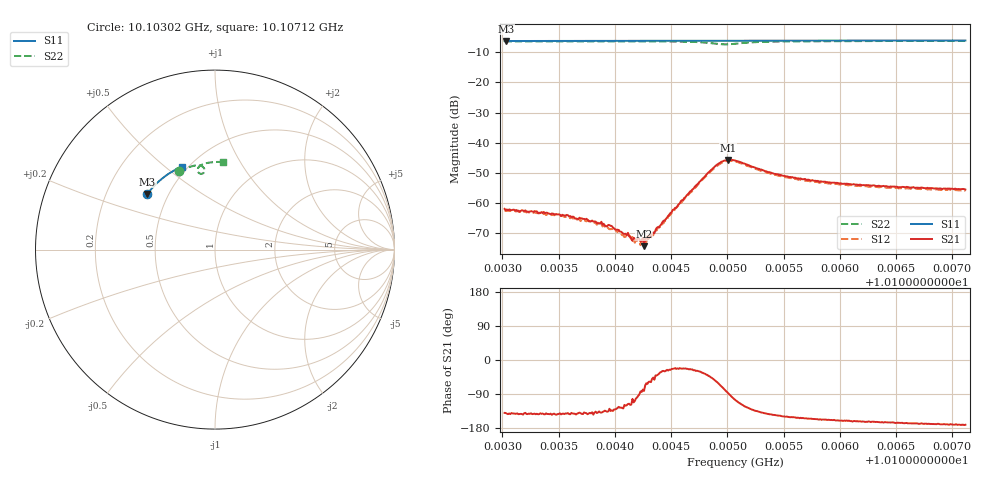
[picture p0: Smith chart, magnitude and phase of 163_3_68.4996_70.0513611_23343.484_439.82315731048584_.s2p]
#  HZ  S  RI  R  50.00
! Rohde & Schwarz Vector Network Analyzer
! Rohde-Schwarz,ZNB20-2Port,1311601062101988,3.16
! Created: UTC 3/20/2024, 5:11:01 PM
! freq[Hz]  re:S11  im:S11  re:S21  im:S21  re:S12  im:S12  re:S22  im:S22
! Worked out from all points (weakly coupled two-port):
!   401 points, 10.10302 GHz to 10.10712 GHz, reference 50 ohm
!   highest |S21| = -45.72 dB at 10.10501 GHz (marker M1); lowest = -74.4 dB at 10.10426 GHz (marker M2)
!   lowest |S11| = -6.2 dB at 10.10303 GHz (marker M3), VSWR 2.91, Z = 19.1 + j15.6 ohm
!   |S11| at or under -10 dB: nowhere
!   |S22| runs from -7.4 to -6.2 dB; largest |S21 - S12| = 0.00054
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1.0103019e10  -0.3773 0.3095  -0.000604 -0.000514  -0.000551 -0.00051  -0.1988 0.4371
1.0103029e10  -0.3769 0.31  -0.00058 -0.000489  -0.000522 -0.000516  -0.1982 0.4375
1.010349e10  -0.3594 0.3321  -0.000508 -0.00039  -0.000469 -0.000412  -0.17 0.4504
1.0103705e10  -0.3509 0.342  -0.000435 -0.000339  -0.000386 -0.000352  -0.1563 0.4557
1.0103869e10  -0.3442 0.3494  -0.000337 -0.0003  -0.000288 -0.000328  -0.1453 0.4596
1.0103962e10  -0.3404 0.3534  -0.000292 -0.000296  -0.000242 -0.000274  -0.139 0.4616
1.0104023e10  -0.3377 0.3562  -0.000214 -0.000287  -0.000186 -0.000269  -0.1348 0.463
1.0104084e10  -0.3353 0.3588  -0.000145 -0.000268  -0.000125 -0.000239  -0.1304 0.4642
1.0104146e10  -0.3326 0.3615  -0.000115 -0.00022  -0.000109 -0.000236  -0.1259 0.4653
1.0104207e10  -0.3299 0.3641  -1.95e-05 -0.000254  2.31e-05 -0.000224  -0.1212 0.4663
1.0104259e10  -0.3277 0.3661  2.74e-05 -0.000189  8.52e-05 -0.000219  -0.1172 0.4672
1.0104279e10  -0.3268 0.3672  0.000124 -0.000227  8.52e-05 -0.000205  -0.1156 0.4674
1.01043e10  -0.3259 0.3682  0.000135 -0.000213  0.000143 -0.0002  -0.1137 0.4679
1.0104392e10  -0.3218 0.372  0.000317 -0.000233  0.000347 -0.000205  -0.1061 0.4689
1.0104843e10  -0.3012 0.39  0.00242 -0.00229  0.00253 -0.00196  -0.059 0.4483
1.0104925e10  -0.2974 0.3931  0.00206 -0.00403  0.00233 -0.00365  -0.0613 0.4306
1.0105007e10  -0.2937 0.396  0.000247 -0.00517  0.000672 -0.00496  -0.0794 0.4223
1.0105068e10  -0.2909 0.3984  -0.0013 -0.00489  -0.0008 -0.00482  -0.0921 0.4292
1.0105416e10  -0.2743 0.4113  -0.00248 -0.00174  -0.00226 -0.00189  -0.0774 0.4709
1.0105754e10  -0.2574 0.4231  -0.00217 -0.000991  -0.00196 -0.00113  -0.0503 0.4811
1.0106441e10  -0.2218 0.4447  -0.00178 -0.000486  -0.00167 -0.000611  -0.00188 0.4878
1.0107117e10  -0.1851 0.4626  -0.00164 -0.000266  -0.00155 -0.000377  0.0431 0.488
